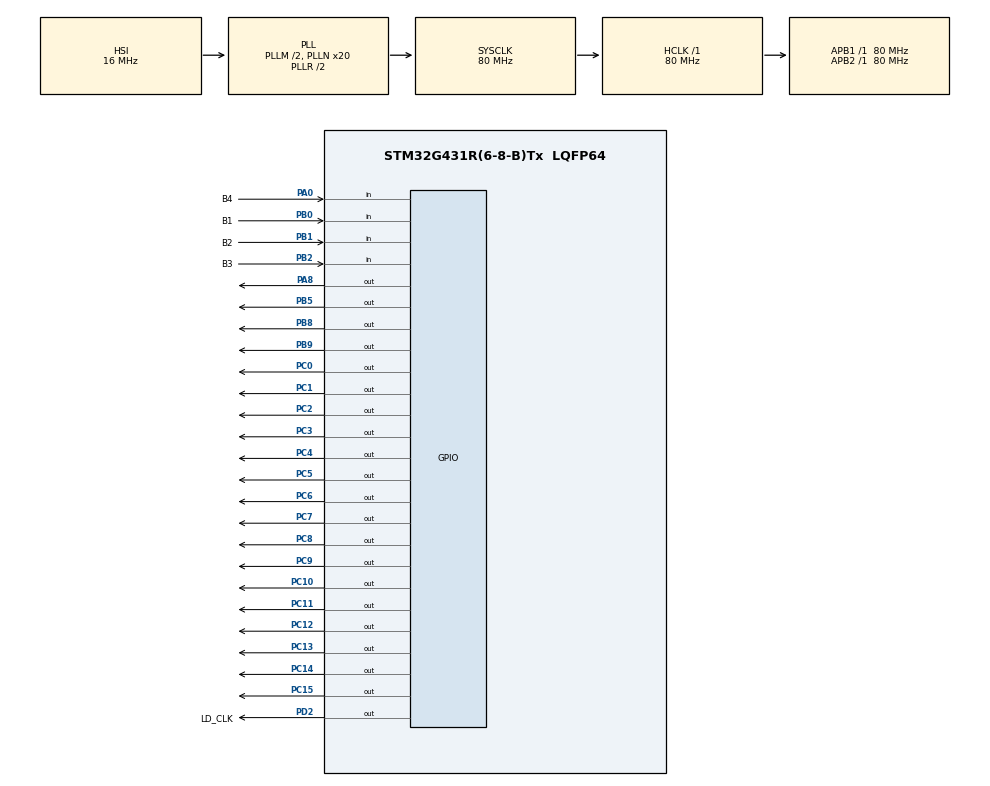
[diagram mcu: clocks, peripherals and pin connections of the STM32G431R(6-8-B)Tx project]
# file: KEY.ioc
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Mcu.Family=STM32G4
Mcu.Name=STM32G431R(6-8-B)Tx
Mcu.Package=LQFP64
NVIC.PriorityGroup=NVIC_PRIORITYGROUP_4
NVIC.TIM4_IRQn=true\:0\:0\:false\:false\:true\:true\:true
PA0.GPIO_Label=B4
PA0.GPIO_PuPd=GPIO_PULLUP
PA0.Signal=GPIO_Input
PA8.Signal=GPIO_Output
PB0.GPIO_Label=B1
PB0.GPIO_PuPd=GPIO_PULLUP
PB0.Signal=GPIO_Input
PB1.GPIO_Label=B2
PB1.GPIO_PuPd=GPIO_PULLUP
PB1.Signal=GPIO_Input
PB2.GPIO_Label=B3
PB2.GPIO_PuPd=GPIO_PULLUP
PB2.Signal=GPIO_Input
PB5.Signal=GPIO_Output
PB8-BOOT0.Signal=GPIO_Output
PB9.Signal=GPIO_Output
PC0.Signal=GPIO_Output
PC1.Signal=GPIO_Output
PC10.Signal=GPIO_Output
PC11.Signal=GPIO_Output
PC12.Signal=GPIO_Output
PC13.Signal=GPIO_Output
PC14-OSC32_IN.Signal=GPIO_Output
PC15-OSC32_OUT.Signal=GPIO_Output
PC2.Signal=GPIO_Output
PC3.Signal=GPIO_Output
PC4.Signal=GPIO_Output
PC5.Signal=GPIO_Output
PC6.Signal=GPIO_Output
PC7.Signal=GPIO_Output
PC8.Signal=GPIO_Output
PC9.Signal=GPIO_Output
PD2.GPIO_Label=LD_CLK
PD2.Signal=GPIO_Output
PF0-OSC_IN.Mode=HSE-External-Oscillator
PF0-OSC_IN.Signal=RCC_OSC_IN
PF1-OSC_OUT.Mode=HSE-External-Oscillator
PF1-OSC_OUT.Signal=RCC_OSC_OUT
ProjectManager.HeapSize=0x200
ProjectManager.StackSize=0x400
ProjectManager.TargetToolchain=MDK-ARM V5.27
RCC.ADC12Freq_Value=80000000
RCC.AHBFreq_Value=80000000
RCC.APB1Freq_Value=80000000
RCC.APB1TimFreq_Value=80000000
RCC.APB2Freq_Value=80000000
RCC.APB2TimFreq_Value=80000000
RCC.CortexFreq_Value=80000000
RCC.EXTERNAL_CLOCK_VALUE=12288000
RCC.HCLKFreq_Value=80000000
RCC.HSE_VALUE=24000000
RCC.HSI48_VALUE=48000000
RCC.HSI_VALUE=16000000
RCC.LSE_VALUE=32768
RCC.PLLM=RCC_PLLM_DIV2
RCC.PLLN=20
RCC.SYSCLKFreq_VALUE=80000000
RCC.SYSCLKSource=RCC_SYSCLKSOURCE_PLLCLK
RCC.USBFreq_Value=80000000
RCC.VCOOutputFreq_Value=160000000
TIM4.PeriodNoDither=1000-1
TIM4.Prescaler=80-1
VP_SYS_VS_DBSignals.Mode=DisableDeadBatterySignals
VP_TIM4_VS_ClockSourceINT.Mode=Internal
board=custom

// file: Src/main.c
/* USER CODE BEGIN Header */
/**
  ******************************************************************************
  * @file           : main.c
  * @brief          : Main program body
  ******************************************************************************
  * @attention
  *
  * <h2><center>&copy; Copyright (c) 2021 STMicroelectronics.
  * All rights reserved.</center></h2>
  *
  * This software component is licensed by ST under BSD 3-Clause license,
  * the "License"; You may not use this file except in compliance with the
  * License. You may obtain a copy of the License at:
  *                        opensource.org/licenses/BSD-3-Clause
  *
  ******************************************************************************
  */
/* USER CODE END Header */
#include "main.h"
#include <stdio.h>
/* USER CODE BEGIN Includes */
#include "lcd.h"
/* USER CODE END Includes */

/* USER CODE BEGIN PM */
#define KB1 HAL_GPIO_ReadPin(B1_GPIO_Port, B1_Pin)
#define KB2 HAL_GPIO_ReadPin(B2_GPIO_Port, B2_Pin)
#define KB3 HAL_GPIO_ReadPin(B3_GPIO_Port, B3_Pin)
#define KB4 HAL_GPIO_ReadPin(B4_GPIO_Port, B4_Pin)
/* USER CODE END PM */

TIM_HandleTypeDef htim4;

/* USER CODE BEGIN PV */
_Bool Key_Flag = 0;
uint8_t KB1_DCLK = 0;

uint8_t KB1_ShortClick_Sum = 0;//单击次数
uint8_t KB1_LongClick_Sum = 0;//长按次数
uint8_t KB1_DoubleClick_Sum = 0;//双击次数
/* USER CODE END PV */

void SystemClock_Config(void);
static void MX_GPIO_Init(void);
static void MX_TIM4_Init(void);

/* USER CODE BEGIN 0 */
void Display_Proc()
{
	uint8_t buf[30];
	//显示按键短按次数
	sprintf((char *)buf, "  Short Click:%d", KB1_ShortClick_Sum);
	LCD_DisplayStringLine(Line0, buf);
	sprintf((char *)buf, "  Long Click:%d", KB1_LongClick_Sum);
	LCD_DisplayStringLine(Line2, buf);
	sprintf((char *)buf, "  Double Click:%d", KB1_DoubleClick_Sum);
	LCD_DisplayStringLine(Line4, buf);
	sprintf((char *)buf, "     B1       ");
	LCD_DisplayStringLine(Line8, buf);
}
void Key_Proc()
{
	static uint16_t b1_sum = 0;
	if(KB1 == 0)
	{
		b1_sum++;
		if(b1_sum == 1)
		{
			KB1_DCLK++;
		}

	}
	if(KB1 == 1)
	{
		if(b1_sum >= 1 && b1_sum < 10)
		{
			//完成了一次短按
			KB1_ShortClick_Sum++;
			b1_sum = 0;
		}
		if(b1_sum >= 10)
		{
			b1_sum = 0;
			//完成了一次长按
			KB1_LongClick_Sum++;
		}
	}
}
/* USER CODE END 0 */

int main(void)
{

  /* MCU Configuration--------------------------------------------------------*/

  /* Reset of all peripherals, Initializes the Flash interface and the Systick. */
  HAL_Init();

  /* Configure the system clock */
  SystemClock_Config();

  /* Initialize all configured peripherals */
  MX_GPIO_Init();
  MX_TIM4_Init();
  /* USER CODE BEGIN 2 */
	//开启定时器4
	HAL_TIM_Base_Start_IT(&htim4);
	LCD_Init();
	LCD_Clear(White);
	LCD_SetBackColor(White);
	LCD_SetTextColor(Black);
  /* USER CODE END 2 */

  /* Infinite loop */
  /* USER CODE BEGIN WHILE */
  while (1)
  {
		Display_Proc();
    /* USER CODE END WHILE */

    /* USER CODE BEGIN 3 */
		if(Key_Flag)
		{
			Key_Flag = 0;
			Key_Proc();
		}
		if(KB1_DCLK >= 2)
		{
			KB1_DCLK = 0;
			KB1_DoubleClick_Sum++;
		}
  }
  /* USER CODE END 3 */
}

void SystemClock_Config(void)
{
  RCC_OscInitTypeDef RCC_OscInitStruct = {0};
  RCC_ClkInitTypeDef RCC_ClkInitStruct = {0};

  /** Configure the main internal regulator output voltage
  */
  HAL_PWREx_ControlVoltageScaling(PWR_REGULATOR_VOLTAGE_SCALE1);
  /** Initializes the RCC Oscillators according to the specified parameters
  * in the RCC_OscInitTypeDef structure.
  */
  RCC_OscInitStruct.OscillatorType = RCC_OSCILLATORTYPE_HSI;
  RCC_OscInitStruct.HSIState = RCC_HSI_ON;
  RCC_OscInitStruct.HSICalibrationValue = RCC_HSICALIBRATION_DEFAULT;
  RCC_OscInitStruct.PLL.PLLState = RCC_PLL_ON;
  RCC_OscInitStruct.PLL.PLLSource = RCC_PLLSOURCE_HSI;
  RCC_OscInitStruct.PLL.PLLM = RCC_PLLM_DIV2;
  RCC_OscInitStruct.PLL.PLLN = 20;
  RCC_OscInitStruct.PLL.PLLP = RCC_PLLP_DIV2;
  RCC_OscInitStruct.PLL.PLLQ = RCC_PLLQ_DIV2;
  RCC_OscInitStruct.PLL.PLLR = RCC_PLLR_DIV2;
  if (HAL_RCC_OscConfig(&RCC_OscInitStruct) != HAL_OK)
  {
    Error_Handler();
  }
  /** Initializes the CPU, AHB and APB buses clocks
  */
  RCC_ClkInitStruct.ClockType = RCC_CLOCKTYPE_HCLK|RCC_CLOCKTYPE_SYSCLK
                              |RCC_CLOCKTYPE_PCLK1|RCC_CLOCKTYPE_PCLK2;
  RCC_ClkInitStruct.SYSCLKSource = RCC_SYSCLKSOURCE_PLLCLK;
  RCC_ClkInitStruct.AHBCLKDivider = RCC_SYSCLK_DIV1;
  RCC_ClkInitStruct.APB1CLKDivider = RCC_HCLK_DIV1;
  RCC_ClkInitStruct.APB2CLKDivider = RCC_HCLK_DIV1;

  if (HAL_RCC_ClockConfig(&RCC_ClkInitStruct, FLASH_LATENCY_2) != HAL_OK)
  {
    Error_Handler();
  }
}

static void MX_TIM4_Init(void)
{

  TIM_ClockConfigTypeDef sClockSourceConfig = {0};
  TIM_MasterConfigTypeDef sMasterConfig = {0};

  htim4.Instance = TIM4;
  htim4.Init.Prescaler = 80-1;
  htim4.Init.CounterMode = TIM_COUNTERMODE_UP;
  htim4.Init.Period = 999;
  htim4.Init.ClockDivision = TIM_CLOCKDIVISION_DIV1;
  htim4.Init.AutoReloadPreload = TIM_AUTORELOAD_PRELOAD_DISABLE;
  if (HAL_TIM_Base_Init(&htim4) != HAL_OK)
  {
    Error_Handler();
  }
  sClockSourceConfig.ClockSource = TIM_CLOCKSOURCE_INTERNAL;
  if (HAL_TIM_ConfigClockSource(&htim4, &sClockSourceConfig) != HAL_OK)
  {
    Error_Handler();
  }
  sMasterConfig.MasterOutputTrigger = TIM_TRGO_RESET;
  sMasterConfig.MasterSlaveMode = TIM_MASTERSLAVEMODE_DISABLE;
  if (HAL_TIMEx_MasterConfigSynchronization(&htim4, &sMasterConfig) != HAL_OK)
  {
    Error_Handler();
  }

}

static void MX_GPIO_Init(void)
{
  GPIO_InitTypeDef GPIO_InitStruct = {0};

  /* GPIO Ports Clock Enable */
  __HAL_RCC_GPIOC_CLK_ENABLE();
  __HAL_RCC_GPIOF_CLK_ENABLE();
  __HAL_RCC_GPIOA_CLK_ENABLE();
  __HAL_RCC_GPIOB_CLK_ENABLE();
  __HAL_RCC_GPIOD_CLK_ENABLE();

  /*Configure GPIO pin Output Level */
  HAL_GPIO_WritePin(GPIOC, GPIO_PIN_13|GPIO_PIN_14|GPIO_PIN_15|GPIO_PIN_0
                          |GPIO_PIN_1|GPIO_PIN_2|GPIO_PIN_3|GPIO_PIN_4
                          |GPIO_PIN_5|GPIO_PIN_6|GPIO_PIN_7|GPIO_PIN_8
                          |GPIO_PIN_9|GPIO_PIN_10|GPIO_PIN_11|GPIO_PIN_12, GPIO_PIN_RESET);

  /*Configure GPIO pin Output Level */
  HAL_GPIO_WritePin(GPIOA, GPIO_PIN_8, GPIO_PIN_RESET);

  /*Configure GPIO pin Output Level */
  HAL_GPIO_WritePin(LD_CLK_GPIO_Port, LD_CLK_Pin, GPIO_PIN_RESET);

  /*Configure GPIO pin Output Level */
  HAL_GPIO_WritePin(GPIOB, GPIO_PIN_5|GPIO_PIN_8|GPIO_PIN_9, GPIO_PIN_RESET);

  /*Configure GPIO pins : PC13 PC14 PC15 PC0
                           PC1 PC2 PC3 PC4
                           PC5 PC6 PC7 PC8
                           PC9 PC10 PC11 PC12 */
  GPIO_InitStruct.Pin = GPIO_PIN_13|GPIO_PIN_14|GPIO_PIN_15|GPIO_PIN_0
                          |GPIO_PIN_1|GPIO_PIN_2|GPIO_PIN_3|GPIO_PIN_4
                          |GPIO_PIN_5|GPIO_PIN_6|GPIO_PIN_7|GPIO_PIN_8
                          |GPIO_PIN_9|GPIO_PIN_10|GPIO_PIN_11|GPIO_PIN_12;
  GPIO_InitStruct.Mode = GPIO_MODE_OUTPUT_PP;
  GPIO_InitStruct.Pull = GPIO_NOPULL;
  GPIO_InitStruct.Speed = GPIO_SPEED_FREQ_LOW;
  HAL_GPIO_Init(GPIOC, &GPIO_InitStruct);

  /*Configure GPIO pin : B4_Pin */
  GPIO_InitStruct.Pin = B4_Pin;
  GPIO_InitStruct.Mode = GPIO_MODE_INPUT;
  GPIO_InitStruct.Pull = GPIO_PULLUP;
  HAL_GPIO_Init(B4_GPIO_Port, &GPIO_InitStruct);

  /*Configure GPIO pins : B1_Pin B2_Pin B3_Pin */
  GPIO_InitStruct.Pin = B1_Pin|B2_Pin|B3_Pin;
  GPIO_InitStruct.Mode = GPIO_MODE_INPUT;
  GPIO_InitStruct.Pull = GPIO_PULLUP;
  HAL_GPIO_Init(GPIOB, &GPIO_InitStruct);

  /*Configure GPIO pin : PA8 */
  GPIO_InitStruct.Pin = GPIO_PIN_8;
  GPIO_InitStruct.Mode = GPIO_MODE_OUTPUT_PP;
  GPIO_InitStruct.Pull = GPIO_NOPULL;
  GPIO_InitStruct.Speed = GPIO_SPEED_FREQ_LOW;
  HAL_GPIO_Init(GPIOA, &GPIO_InitStruct);

  /*Configure GPIO pin : LD_CLK_Pin */
  GPIO_InitStruct.Pin = LD_CLK_Pin;
  GPIO_InitStruct.Mode = GPIO_MODE_OUTPUT_PP;
  GPIO_InitStruct.Pull = GPIO_NOPULL;
  GPIO_InitStruct.Speed = GPIO_SPEED_FREQ_LOW;
  HAL_GPIO_Init(LD_CLK_GPIO_Port, &GPIO_InitStruct);

  /*Configure GPIO pins : PB5 PB8 PB9 */
  GPIO_InitStruct.Pin = GPIO_PIN_5|GPIO_PIN_8|GPIO_PIN_9;
  GPIO_InitStruct.Mode = GPIO_MODE_OUTPUT_PP;
  GPIO_InitStruct.Pull = GPIO_NOPULL;
  GPIO_InitStruct.Speed = GPIO_SPEED_FREQ_LOW;
  HAL_GPIO_Init(GPIOB, &GPIO_InitStruct);

}

/* USER CODE BEGIN 4 */
void HAL_TIM_PeriodElapsedCallback(TIM_HandleTypeDef *htim)
{
	HAL_TIM_Base_Start_IT(&htim4);
	static uint8_t key_count;
	static uint16_t kb1_dclk_count;
	if(++key_count == 10)
	{
		key_count = 0;
		Key_Flag = 1;
	}
	if(++kb1_dclk_count == 1000)
	{
		kb1_dclk_count = 0;
		KB1_DCLK = 0;
	}

}
/* USER CODE END 4 */

void Error_Handler(void)
{
  __disable_irq();
  while (1)
  {
  }
}

/************************ (C) COPYRIGHT STMicroelectronics *****END OF FILE****/
